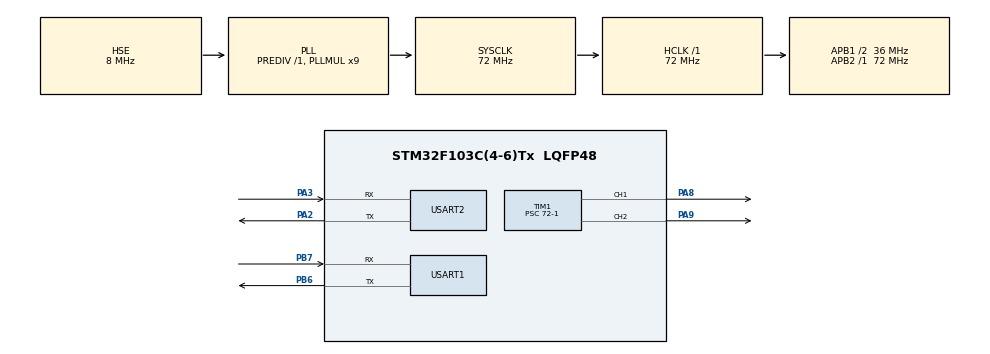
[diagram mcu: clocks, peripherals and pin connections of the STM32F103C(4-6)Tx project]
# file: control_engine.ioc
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Mcu.Family=STM32F1
Mcu.Name=STM32F103C(4-6)Tx
Mcu.Package=LQFP48
NVIC.PriorityGroup=NVIC_PRIORITYGROUP_4
NVIC.USART1_IRQn=true\:0\:0\:false\:false\:true\:true\:true
PA2.Mode=Asynchronous
PA2.Signal=USART2_TX
PA3.Mode=Asynchronous
PA3.Signal=USART2_RX
PA8.Signal=S_TIM1_CH1
PA9.Signal=S_TIM1_CH2
PB6.Mode=Asynchronous
PB6.Signal=USART1_TX
PB7.Mode=Asynchronous
PB7.Signal=USART1_RX
PD0-OSC_IN.Mode=HSE-External-Oscillator
PD0-OSC_IN.Signal=RCC_OSC_IN
PD1-OSC_OUT.Mode=HSE-External-Oscillator
PD1-OSC_OUT.Signal=RCC_OSC_OUT
ProjectManager.HeapSize=0x200
ProjectManager.StackSize=0x400
ProjectManager.TargetToolchain=MDK-ARM V5.27
RCC.AHBFreq_Value=72000000
RCC.APB1CLKDivider=RCC_HCLK_DIV2
RCC.APB1Freq_Value=36000000
RCC.APB1TimFreq_Value=72000000
RCC.APB2Freq_Value=72000000
RCC.APB2TimFreq_Value=72000000
RCC.HCLKFreq_Value=72000000
RCC.PLLMUL=RCC_PLL_MUL9
RCC.PLLSourceVirtual=RCC_PLLSOURCE_HSE
RCC.SYSCLKFreq_VALUE=72000000
RCC.SYSCLKSource=RCC_SYSCLKSOURCE_PLLCLK
RCC.USBFreq_Value=72000000
SH.S_TIM1_CH1.0=TIM1_CH1,PWM Generation1 CH1
SH.S_TIM1_CH2.0=TIM1_CH2,PWM Generation2 CH2
TIM1.AutoReloadPreload=TIM_AUTORELOAD_PRELOAD_ENABLE
TIM1.Channel-PWM\ Generation1\ CH1=TIM_CHANNEL_1
TIM1.Channel-PWM\ Generation2\ CH2=TIM_CHANNEL_2
TIM1.Period=20000-1
TIM1.Prescaler=72-1
TIM2.AutoReloadPreload=TIM_AUTORELOAD_PRELOAD_ENABLE
TIM2.Channel-Output\ Compare1\ No\ Output=TIM_CHANNEL_1
TIM2.Period=20000-1
TIM2.Prescaler=72-1
USART1.VirtualMode=VM_ASYNC
USART2.VirtualMode=VM_ASYNC
VP_SYS_VS_ND.Mode=No_Debug
VP_TIM1_VS_ClockSourceINT.Mode=Internal
VP_TIM2_VS_ClockSourceINT.Mode=Internal
VP_TIM2_VS_no_output1.Mode=Output Compare1 No Output
board=custom

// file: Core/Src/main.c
/* USER CODE BEGIN Header */
/**
  ******************************************************************************
  * @file           : main.c
  * @brief          : Main program body
  ******************************************************************************
  * @attention
  *
  * <h2><center>&copy; Copyright (c) 2021 STMicroelectronics.
  * All rights reserved.</center></h2>
  *
  * This software component is licensed by ST under BSD 3-Clause license,
  * the "License"; You may not use this file except in compliance with the
  * License. You may obtain a copy of the License at:
  *                        opensource.org/licenses/BSD-3-Clause
  *
  ******************************************************************************
  */
/* USER CODE END Header */
#include "main.h"
#include "tim.h"
#include "usart.h"
#include "gpio.h"

/* USER CODE BEGIN PD */
#include "stdio.h"
/**
  * @brief  串口调试
  * @retval None
  */
#define DEBUG
#ifdef DEBUG
#define DBG(format, ...) fprintf(stdout, "[\tDBG](File:%s, Func:%s(), Line:%d): " \
                                , __FILE__, __FUNCTION__, __LINE__);             \
                         fprintf(stdout, format"\r\n", ##__VA_ARGS__)
#else
#define DBG(format, ...)  do {} while (0)
#endif

int fputc(int ch, FILE *f){
    uint8_t temp[1] = {ch};
    HAL_UART_Transmit(&huart2, temp, 1, 2);//huart1 根据配置修改
    return ch;
}
/* USER CODE END PD */

/* USER CODE BEGIN PV */
uint8_t UART1_RxBuffer;
uint8_t buffer1[8] = "\0";
uint16_t Real;
uint8_t mode = 0x01;
/* USER CODE END PV */

void SystemClock_Config(void);

int main(void)
{

  /* MCU Configuration--------------------------------------------------------*/

  /* Reset of all peripherals, Initializes the Flash interface and the Systick. */
  HAL_Init();

  /* Configure the system clock */
  SystemClock_Config();

  /* Initialize all configured peripherals */
  MX_GPIO_Init();
  MX_TIM1_Init();
  MX_TIM2_Init();
  MX_USART1_UART_Init();
  MX_USART2_UART_Init();
  /* USER CODE BEGIN 2 */
  HAL_TIM_Base_Start_IT(&htim2);
  HAL_TIM_PWM_Start(&htim1, TIM_CHANNEL_1); //开启PWM
	HAL_TIM_PWM_Start(&htim1, TIM_CHANNEL_2);
  HAL_UART_Receive_IT(&huart1, (uint8_t*)&UART1_RxBuffer, 1);

  __HAL_TIM_SET_COMPARE(&htim1, TIM_CHANNEL_1, 1500);
  __HAL_TIM_SET_COMPARE(&htim1, TIM_CHANNEL_2, 1500);
  HAL_Delay(1000);
  /* USER CODE END 2 */

  /* Infinite loop */
  /* USER CODE BEGIN WHILE */
  while (1)
  {
    if(mode == 0x01) //模式一
      __HAL_TIM_SET_COMPARE(&htim1, TIM_CHANNEL_1, Real);
    else if(mode == 0x02)  //模式二
      __HAL_TIM_SET_COMPARE(&htim1, TIM_CHANNEL_1, Real);
    else if(mode == 0x03)  //模式三
        __HAL_TIM_SET_COMPARE(&htim1, TIM_CHANNEL_1, after_change_pulses + 1500);
    /* USER CODE END WHILE */
    //DBG("hello\r\n");
  }
}

void SystemClock_Config(void)
{
  RCC_OscInitTypeDef RCC_OscInitStruct = {0};
  RCC_ClkInitTypeDef RCC_ClkInitStruct = {0};

  /** Initializes the RCC Oscillators according to the specified parameters
  * in the RCC_OscInitTypeDef structure.
  */
  RCC_OscInitStruct.OscillatorType = RCC_OSCILLATORTYPE_HSE;
  RCC_OscInitStruct.HSEState = RCC_HSE_ON;
  RCC_OscInitStruct.HSEPredivValue = RCC_HSE_PREDIV_DIV1;
  RCC_OscInitStruct.HSIState = RCC_HSI_ON;
  RCC_OscInitStruct.PLL.PLLState = RCC_PLL_ON;
  RCC_OscInitStruct.PLL.PLLSource = RCC_PLLSOURCE_HSE;
  RCC_OscInitStruct.PLL.PLLMUL = RCC_PLL_MUL9;
  if (HAL_RCC_OscConfig(&RCC_OscInitStruct) != HAL_OK)
  {
    Error_Handler();
  }
  /** Initializes the CPU, AHB and APB buses clocks
  */
  RCC_ClkInitStruct.ClockType = RCC_CLOCKTYPE_HCLK|RCC_CLOCKTYPE_SYSCLK
                              |RCC_CLOCKTYPE_PCLK1|RCC_CLOCKTYPE_PCLK2;
  RCC_ClkInitStruct.SYSCLKSource = RCC_SYSCLKSOURCE_PLLCLK;
  RCC_ClkInitStruct.AHBCLKDivider = RCC_SYSCLK_DIV1;
  RCC_ClkInitStruct.APB1CLKDivider = RCC_HCLK_DIV2;
  RCC_ClkInitStruct.APB2CLKDivider = RCC_HCLK_DIV1;

  if (HAL_RCC_ClockConfig(&RCC_ClkInitStruct, FLASH_LATENCY_2) != HAL_OK)
  {
    Error_Handler();
  }
}

/* USER CODE BEGIN 4 */
void HAL_UART_RxCpltCallback(UART_HandleTypeDef *huart)
{

  static uint8_t count = 0;
  if(huart -> Instance == USART1)
  {
    if((count == 0) && (UART1_RxBuffer == 0xff))
    {
      count++;
      buffer1[0] = UART1_RxBuffer;
    }
    else if((count == 1) && (UART1_RxBuffer < 0xff))
    {
      buffer1[1] = UART1_RxBuffer;
      count++;
    }
    else if((count == 2) && (UART1_RxBuffer <= 0xff))
    {
      buffer1[2] = UART1_RxBuffer;
      count++;
    }
    else if((count == 3) && (UART1_RxBuffer == 0xfe))
    {
      count = 0;
      buffer1[3] = UART1_RxBuffer;
      Real = (buffer1[1] << 8) | buffer1[2];
      //DBG("hello!\r\n");
    }
    else
       count = 0;
    HAL_UART_Receive_IT(&huart1, &UART1_RxBuffer, 1);
  }
}
/* USER CODE END 4 */

void Error_Handler(void)
{
}

/************************ (C) COPYRIGHT STMicroelectronics *****END OF FILE****/
